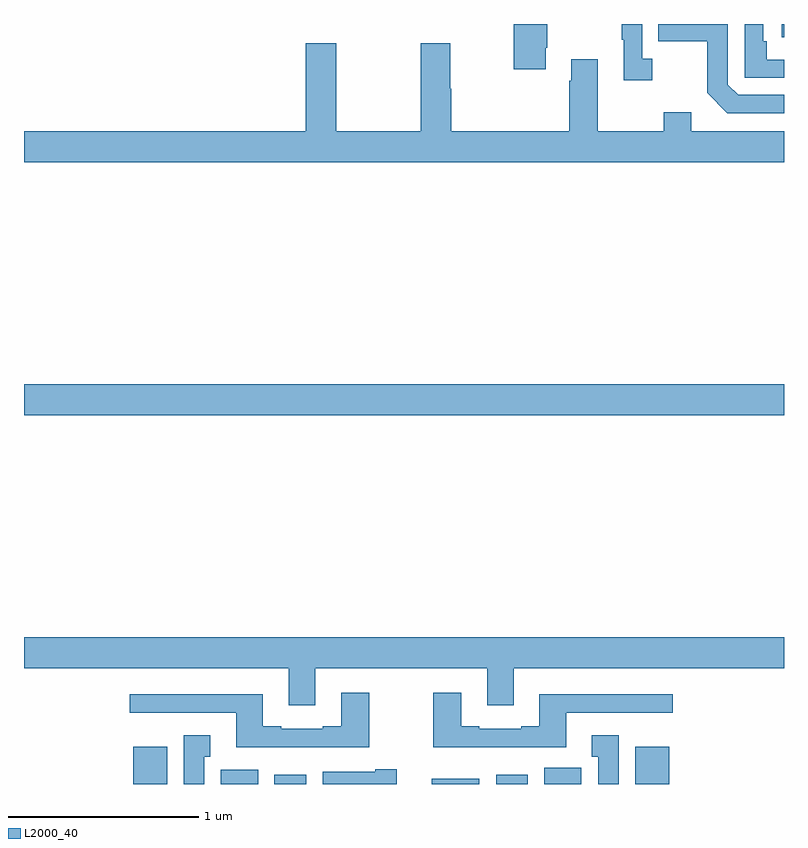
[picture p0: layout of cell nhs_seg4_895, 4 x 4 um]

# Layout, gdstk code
import gdstk
lib = gdstk.Library(unit=1e-6, precision=1e-09)
def R(c, l, rs):  # rectangles x0, y0, x1, y1
    for r in rs: c.add(gdstk.rectangle(r[:2], r[2:], *l))
def P(c, l, *ps):  # polygons
    for p in ps: c.add(gdstk.Polygon(p, *l))
L2000_40 = (2000, 40)

nhs_seg4_895 = lib.new_cell('nhs_seg4_895')
R(nhs_seg4_895, L2000_40, [(157.574,774.9,157.753,775.096), (158.036,774.9,158.233,774.976), (158.318,774.9,158.485,774.949), (159.146,774.9,159.397,774.928), (159.485,774.9,159.652,774.949), (159.737,774.9,159.933,774.985), (160.217,774.9,160.396,775.096), (157,776.84,161,777.004), (160.989,778.83,161,778.9), (158.69,778.898,159.04,778.9)])
P(nhs_seg4_895, L2000_40, [(160.306,778.718),(160.254,778.718),(160.254,778.9),(160.146,778.9),(160.146,778.817),(160.157,778.817),(160.157,778.605),(160.306,778.605)],
  [(159.745,778.774),(159.753,778.774),(159.753,778.9),(159.578,778.9),(159.578,778.662),(159.745,778.662)],
  [(161,778.527),(160.758,778.527),(160.704,778.581),(160.704,778.9),(160.339,778.9),(160.339,778.81),(160.596,778.81),(160.596,778.537),(160.701,778.431),(161,778.431)],
  [(161,778.713),(160.91,778.713),(160.91,778.81),(160.89,778.81),(160.89,778.9),(160.794,778.9),(160.794,778.617),(161,778.617)],
  [(161,778.336),(160.513,778.336),(160.513,778.435),(160.366,778.435),(160.366,778.336),(160.021,778.336),(160.021,778.714),(159.881,778.714),(159.881,778.601),(159.869,778.601),(159.869,778.336),(159.248,778.336),(159.248,778.559),(159.243,778.559),(159.243,778.798),(159.088,778.798),(159.088,778.336),(158.643,778.336),(158.643,778.798),(158.483,778.798),(158.483,778.336),(157,778.336),(157,778.172),(161,778.172)],
  [(158.533,775.508),(159.437,775.508),(159.437,775.314),(159.577,775.314),(159.577,775.508),(161,775.508),(161,775.672),(157,775.672),(157,775.508),(158.393,775.508),(158.393,775.314),(158.533,775.314)],
  [(158.817,775.381),(158.669,775.381),(158.669,775.204),(158.573,775.204),(158.573,775.191),(158.353,775.191),(158.353,775.204),(158.257,775.204),(158.257,775.372),(157.557,775.372),(157.557,775.275),(158.117,775.275),(158.117,775.094),(158.817,775.094)],
  [(159.853,775.275),(160.414,775.275),(160.414,775.372),(159.713,775.372),(159.713,775.204),(159.617,775.204),(159.617,775.191),(159.397,775.191),(159.397,775.204),(159.301,775.204),(159.301,775.381),(159.154,775.381),(159.154,775.094),(159.853,775.094)],
  [(160.129,775.156),(159.989,775.156),(159.989,775.043),(160.022,775.043),(160.022,774.9),(160.129,774.9)],
  [(157.948,775.043),(157.981,775.043),(157.981,775.156),(157.841,775.156),(157.841,774.9),(157.948,774.9)],
  [(158.962,774.977),(158.849,774.977),(158.849,774.964),(158.573,774.964),(158.573,774.9),(158.962,774.9)])

lib.write_gds('nhs_seg4_895.gds')
